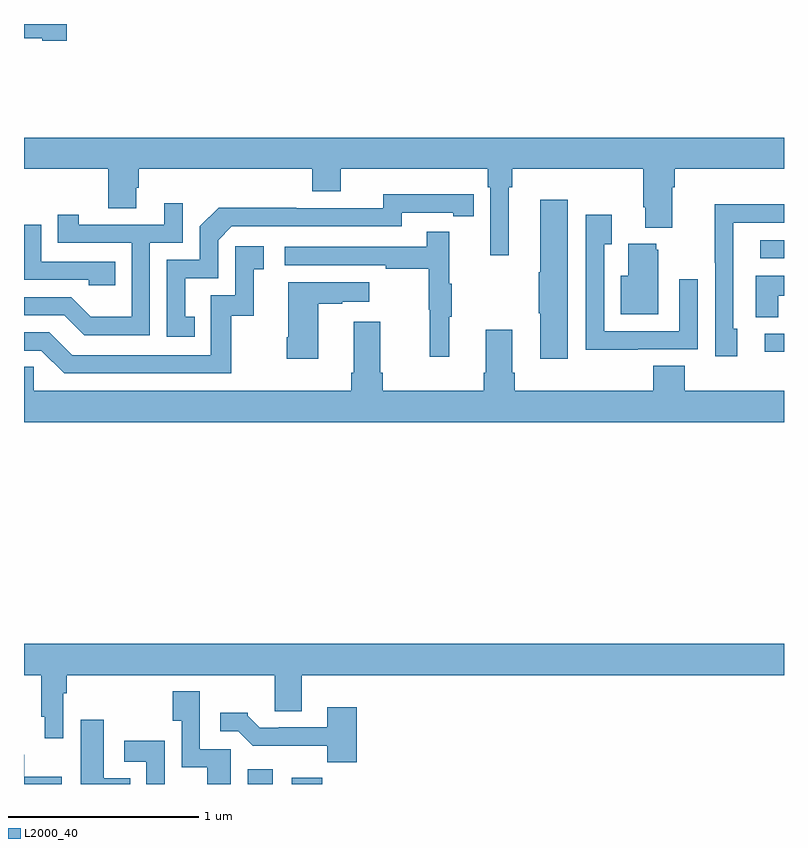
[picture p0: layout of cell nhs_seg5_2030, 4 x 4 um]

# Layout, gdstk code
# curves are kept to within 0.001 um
import gdstk
lib = gdstk.Library(unit=1e-6, precision=1e-09)
def R(c, l, rs):  # rectangles x0, y0, x1, y1
    for r in rs: c.add(gdstk.rectangle(r[:2], r[2:], *l))
def P(c, l, *ps):  # polygons
    for p in ps: c.add(gdstk.Polygon(p, *l))
L2000_40 = (2000, 40)

nhs_seg5_2030 = lib.new_cell('nhs_seg5_2030')
R(nhs_seg5_2030, L2000_40, [(230.177,910.799,230.308,910.876), (230.408,910.799,230.57,910.831), (232.899,913.073,233,913.17), (232.875,913.566,233,913.662)])
P(nhs_seg5_2030, L2000_40, [(229.225,914.799),(229,914.799),(229,914.723),(229.095,914.723),(229.095,914.711),(229.225,914.711)],
  [(231.55,913.94),(231.569,913.94),(231.569,914.036),(232.259,914.036),(232.259,913.834),(232.271,913.834),(232.271,913.727),(232.411,913.727),(232.411,913.94),(232.424,913.94),(232.424,914.036),(233,914.036),(233,914.2),(229,914.2),(229,914.036),(229.444,914.036),(229.444,913.828),(229.591,913.828),(229.591,913.938),(229.604,913.938),(229.604,914.036),(230.516,914.036),(230.516,913.919),(230.668,913.919),(230.668,914.036),(231.44,914.036),(231.44,913.94),(231.453,913.94),(231.453,913.581),(231.55,913.581)],
  [(229.898,913.257),(229.849,913.257),(229.849,913.461),(230.022,913.461),(230.022,913.662),(230.094,913.734),(230.988,913.734),(230.988,913.806),(231.26,913.806),(231.26,913.786),(231.368,913.786),(231.368,913.902),(230.892,913.903),(230.892,913.83),(230.432,913.83),(230.432,913.832),(230.024,913.832),(229.926,913.734),(229.926,913.557),(229.752,913.557),(229.752,913.152),(229.898,913.152)],
  [(231.862,913.873),(231.716,913.873),(231.716,913.493),(231.709,913.493),(231.709,913.276),(231.716,913.276),(231.716,913.038),(231.862,913.038)],
  [(229.662,913.647),(229.836,913.647),(229.836,913.855),(229.739,913.855),(229.739,913.743),(229.288,913.743),(229.288,913.795),(229.177,913.795),(229.177,913.647),(229.566,913.647),(229.566,913.258),(229.352,913.258),(229.248,913.362),(229,913.362),(229,913.266),(229.211,913.266),(229.316,913.161),(229.662,913.161)],
  [(232.753,913.194),(232.734,913.194),(232.734,913.752),(233,913.752),(233,913.85),(232.636,913.85),(232.636,913.543),(232.638,913.543),(232.638,913.05),(232.753,913.05)],
  [(232.229,913.086),(232.545,913.086),(232.545,913.456),(232.449,913.456),(232.449,913.182),(232.053,913.182),(232.053,913.639),(232.093,913.639),(232.093,913.795),(231.957,913.795),(231.957,913.085),(232.229,913.085)],
  [(229.481,913.548),(229.092,913.548),(229.092,913.743),(229,913.743),(229,913.452),(229.341,913.452),(229.341,913.425),(229.481,913.425)],
  [(231.239,913.259),(231.25,913.259),(231.25,913.433),(231.239,913.433),(231.239,913.705),(231.121,913.705),(231.121,913.626),(230.373,913.626),(230.373,913.53),(230.905,913.53),(230.905,913.51),(231.129,913.51),(231.129,913.296),(231.136,913.296),(231.136,913.047),(231.239,913.047)],
  [(232.339,913.611),(232.328,913.611),(232.328,913.642),(232.181,913.642),(232.181,913.474),(232.142,913.474),(232.142,913.271),(232.339,913.271)],
  [(230.092,913.263),(230.21,913.263),(230.21,913.509),(230.263,913.509),(230.263,913.63),(230.112,913.63),(230.112,913.371),(229.983,913.371),(229.983,913.056),(229.254,913.056),(229.134,913.176),(229,913.176),(229,913.08),(229.092,913.08),(229.212,912.96),(230.092,912.96)],
  [(232.971,913.37),(233,913.37),(233,913.474),(232.85,913.474),(232.85,913.255),(232.971,913.255)],
  [(230.548,913.327),(230.675,913.327),(230.675,913.337),(230.818,913.337),(230.818,913.441),(230.39,913.441),(230.39,913.15),(230.383,913.15),(230.383,913.038),(230.548,913.038)],
  [(233,912.868),(232.478,912.868),(232.478,913.001),(232.313,913.001),(232.313,912.868),(231.584,912.868),(231.584,912.964),(231.571,912.964),(231.571,913.189),(231.431,913.189),(231.431,912.964),(231.419,912.964),(231.419,912.868),(230.888,912.868),(230.888,912.964),(230.875,912.964),(230.875,913.231),(230.735,913.231),(230.735,912.964),(230.723,912.964),(230.723,912.868),(229.05,912.868),(229.05,912.995),(229,912.995),(229,912.704),(233,912.704)],
  [(229.206,911.276),(229.226,911.276),(229.226,911.372),(230.321,911.372),(230.321,911.182),(230.461,911.182),(230.461,911.372),(233,911.372),(233,911.536),(229,911.536),(229,911.372),(229.09,911.372),(229.09,911.152),(229.11,911.152),(229.11,911.04),(229.206,911.04)],
  [(230.089,910.983),(229.926,910.983),(229.926,911.287),(229.783,911.287),(229.783,911.131),(229.83,911.131),(229.83,910.886),(229.964,910.886),(229.964,910.799),(230.089,910.799)],
  [(230.75,911.203),(230.597,911.203),(230.597,911.097),(230.341,911.097),(230.341,911.094),(230.242,911.094),(230.178,911.158),(230.178,911.173),(230.034,911.173),(230.034,911.076),(230.127,911.076),(230.203,911),(230.595,911),(230.595,910.913),(230.75,910.913)],
  [(229.559,910.828),(229.42,910.828),(229.42,911.137),(229.298,911.137),(229.298,910.799),(229.559,910.799)],
  [(229.74,911.026),(229.527,911.026),(229.527,910.917),(229.644,910.917),(229.644,910.799),(229.74,910.799)],
  [(229.198,910.837),(229.002,910.837),(229.002,910.952),(229,910.952),(229,910.799),(229.198,910.799)])

lib.write_gds('nhs_seg5_2030.gds')
